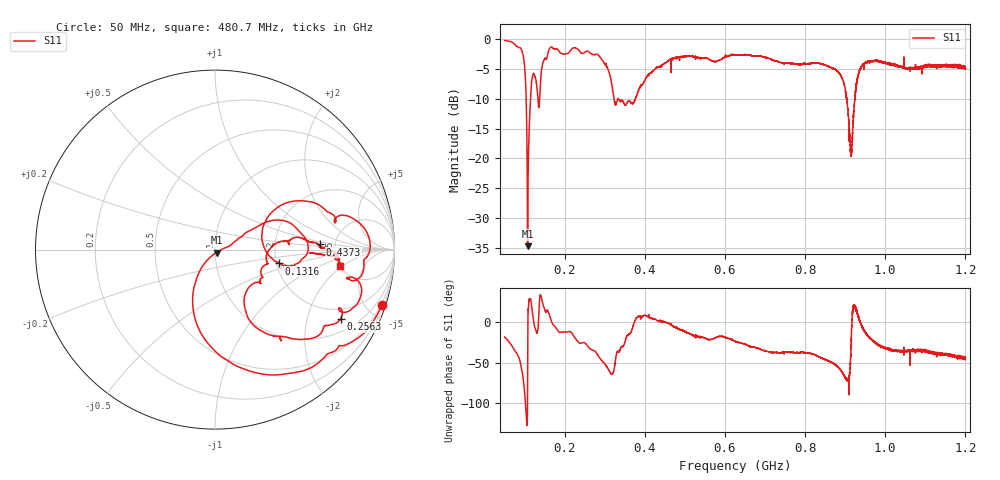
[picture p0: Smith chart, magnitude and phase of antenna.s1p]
! Calibrated high-resolution NanoVNA antenna measurement
# Hz S RI R 50
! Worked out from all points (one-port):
!   40001 points, 50 MHz to 1.2 GHz, reference 50 ohm
!   lowest |S11| = -34.8 dB at 107.3 MHz (marker M1), VSWR 1.04, Z = 50.8 - j1.65 ohm
!   |S11| at or under -10 dB: 103.8 MHz to 114.8 MHz (11 MHz wide, 10.1 % of centre); 334.7 MHz to 376.2 MHz (41.49 MHz wide, 11.7 % of centre); 903.7 MHz to 923.7 MHz (20 MHz wide, 2.19 % of centre)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
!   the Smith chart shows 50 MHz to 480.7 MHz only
!   S11 on the Smith chart (normalised r, x): 50 MHz: 0.38, -6.16; 131.7 MHz: 2.07, -0.37; 256.3 MHz: 1.52, -3.23; 437.3 MHz: 3.80, +0.33; 480.7 MHz: 5.09, -1.83
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5e7  0.9309 -0.3091
8.291875e7  0.6554 -0.5715
9.44475e7  0.3532 -0.6971
1.014912e8  -0.0552 -0.5019
1.073275e8  0.00843 -0.0162
1.11295e8  0.1516 0.0795
1.205238e8  0.4986 0.0699
1.3165e8  0.3583 -0.0769
1.443575e8  0.5598 0.2582
1.656612e8  0.8626 0.0466
1.9375e8  0.741 -0.1608
2.562525e8  0.6994 -0.3851
3.048975e8  0.3416 -0.4816
3.375e8  0.2493 -0.1737
3.842188e8  0.3713 0.0463
4.372625e8  0.5854 0.0284
4.80675e8  0.6988 -0.0904
4.8125e8  0.6982 -0.0968
6.25e8  0.6804 -0.2968
7.6875e8  0.4982 -0.3788
8.8467e8  0.2861 -0.4363
9.001662e8  0.1429 -0.3452
9.125e8  0.0734 -0.1057
9.256962e8  0.3473 0.1082
9.434062e8  0.6062 -0.0674
9.853238e8  0.5775 -0.3104
1.05625e9  0.4688 -0.333
1.2e9  0.4167 -0.4264
